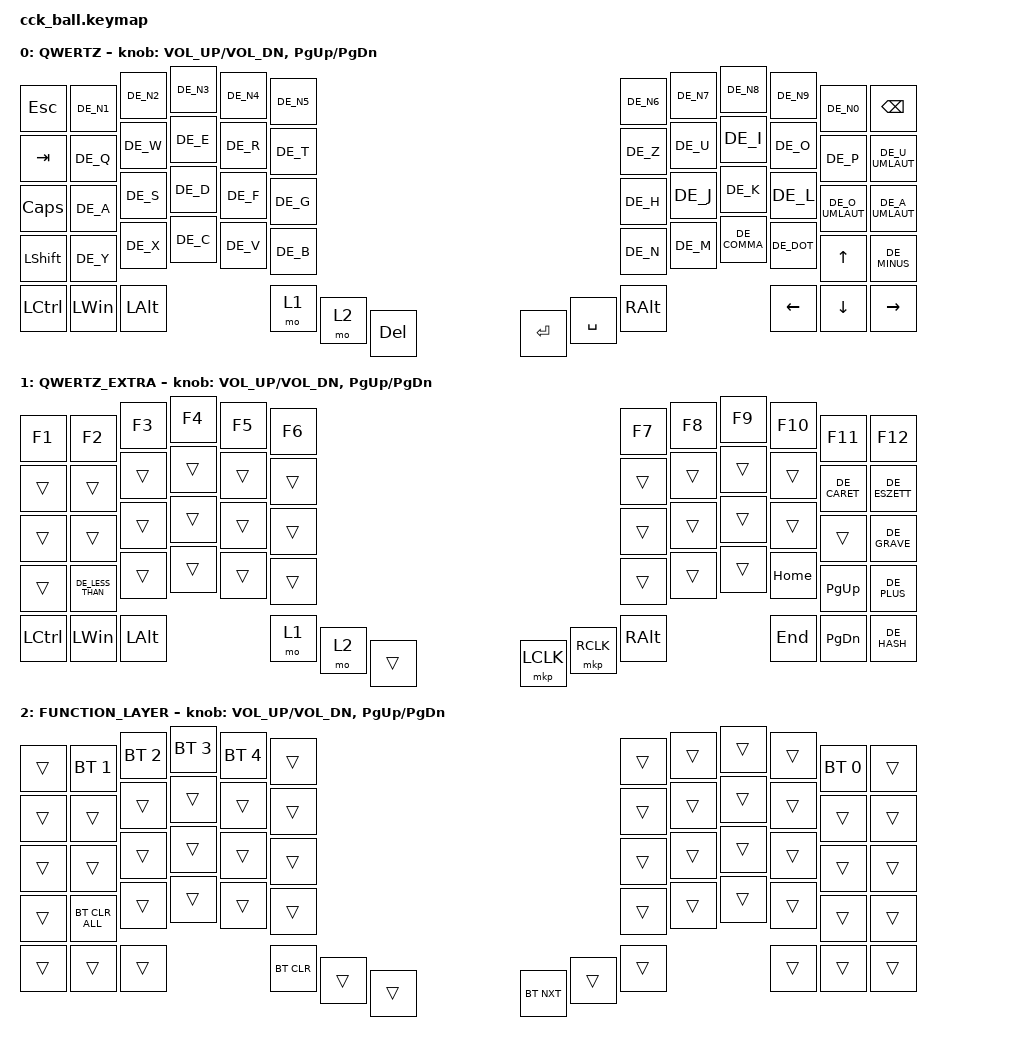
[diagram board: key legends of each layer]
#define ZMK_POINTING_DEFAULT_MOVE_VAL 1000 // 600
#define ZMK_POINTING_DEFAULT_SCRL_VAL 12   // 10

#include <input/processors.dtsi>
#include <zephyr/dt-bindings/input/input-event-codes.h>
#include <behaviors.dtsi>
#include <dt-bindings/zmk/bt.h>
#include <dt-bindings/zmk/keys.h>
#include <dt-bindings/zmk/pointing.h>
#include <locale/keys_de.h>

&mmv_input_listener { input-processors = <&zip_xy_scaler 2 1>; };

&msc_input_listener { input-processors = <&zip_scroll_scaler 2 1>; };

&msc {
	acceleration-exponent	= <0>;		// 0
	time-to-max-speed-ms 	= <300>;	// 300
	delay-ms				= <0>;		// 0
};

&mmv {
	time-to-max-speed-ms 	= <500>;
	acceleration-exponent	= <1>;
	trigger-period-ms		= <16>;
};

&soft_off { hold-time-ms = <2000>; };

/ {
	scroll_vertical_encoder: scroll_vertical_encoder {
		compatible = "zmk,behavior-sensor-rotate";
		#sensor-binding-cells = <0>;
		bindings = <&msc SCRL_DOWN>, <&msc SCRL_UP>;

		tap-ms = <100>;
	};

	scroll_horizontal_encoder: scroll_horizontal_encoder {
		compatible = "zmk,behavior-sensor-rotate";
		#sensor-binding-cells = <0>;
		bindings = <&msc SCRL_LEFT>, <&msc SCRL_RIGHT>;

		tap-ms = <100>;
	};

	behaviors {
	};

	keymap {
		compatible = "zmk,keymap";

		QWERTZ {
			bindings = <
&kp ESC				&kp DE_N1		&kp DE_N2		&kp DE_N3	&kp DE_N4	&kp DE_N5	&kp DE_N6	&kp DE_N7	&kp DE_N8		&kp DE_N9		&kp DE_N0		&kp BACKSPACE
&kp TAB				&kp DE_Q		&kp DE_W		&kp DE_E	&kp DE_R	&kp DE_T	&kp DE_Z	&kp DE_U	&kp DE_I		&kp DE_O		&kp DE_P		&kp DE_U_UMLAUT
&kp CAPSLOCK		&kp DE_A		&kp DE_S		&kp DE_D	&kp DE_F	&kp DE_G	&kp DE_H	&kp DE_J	&kp DE_K		&kp DE_L		&kp DE_O_UMLAUT	&kp DE_A_UMLAUT
&kp LEFT_SHIFT		&kp DE_Y		&kp DE_X		&kp DE_C	&kp DE_V	&kp DE_B	&kp DE_N	&kp DE_M	&kp DE_COMMA	&kp DE_DOT		&kp UP_ARROW	&kp DE_MINUS
&kp LEFT_CONTROL	&kp LEFT_WIN	&kp LEFT_ALT	&mo 1		&mo 2		&kp DELETE	&kp ENTER	&kp SPACE	&kp RIGHT_ALT	&kp LEFT_ARROW	&kp DOWN_ARROW	&kp RIGHT_ARROW
			>;

			sensor-bindings = <&inc_dec_kp C_VOL_UP C_VOL_DN	&inc_dec_kp PG_UP PG_DN>;
		};

		QWERTZ_EXTRA {
			bindings = <
&kp F1				&kp F2				&kp F3			&kp F4	&kp F5	&kp F6	&kp F7		&kp F8		&kp F9			&kp F10		&kp F11			&kp F12
&trans				&trans				&trans			&trans	&trans	&trans	&trans		&trans		&trans			&trans		&kp DE_CARET	&kp DE_ESZETT
&trans				&trans				&trans			&trans	&trans	&trans	&trans		&trans		&trans			&trans		&trans			&kp DE_GRAVE
&trans				&kp DE_LESS_THAN	&trans			&trans	&trans	&trans	&trans		&trans		&trans			&kp HOME	&kp PG_UP		&kp DE_PLUS
&kp LEFT_CONTROL	&kp LEFT_WIN		&kp LEFT_ALT	&mo 1	&mo 2	&trans	&mkp LCLK	&mkp RCLK	&kp RIGHT_ALT	&kp END		&kp PG_DN		&kp DE_HASH
			>;

			sensor-bindings = <&inc_dec_kp C_VOL_UP C_VOL_DN	&inc_dec_kp PG_UP PG_DN>;
		};

		FUNCTION_LAYER {
			bindings = <
&trans	&bt BT_SEL 1	&bt BT_SEL 2	&bt BT_SEL 3	&bt BT_SEL 4	&trans	&trans		&trans	&trans	&trans	&bt BT_SEL 0	&trans
&trans	&trans			&trans			&trans			&trans			&trans	&trans		&trans	&trans	&trans	&trans			&trans
&trans	&trans			&trans			&trans			&trans			&trans	&trans		&trans	&trans	&trans	&trans			&trans
&trans	&bt BT_CLR_ALL	&trans			&trans			&trans			&trans	&trans		&trans	&trans	&trans	&trans			&trans
&trans	&trans			&trans			&bt BT_CLR		&trans			&trans	&bt BT_NXT	&trans	&trans	&trans	&trans			&trans
			>;

			sensor-bindings = <&inc_dec_kp C_VOL_UP C_VOL_DN	&inc_dec_kp PG_UP PG_DN>;
		};
	};
};
